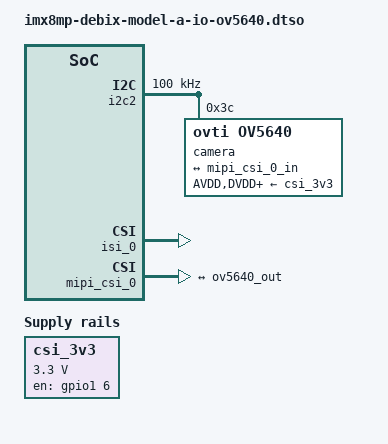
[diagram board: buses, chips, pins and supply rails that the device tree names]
// SPDX-License-Identifier: (GPL-2.0+ OR MIT)
/*
 * Copyright 2022 Ideas on Board Oy
 */

/dts-v1/;
/plugin/;

#include <dt-bindings/clock/imx8mp-clock.h>
#include <dt-bindings/gpio/gpio.h>
#include "imx8mp-pinfunc.h"

&{/} {
	ov5640_clk: ov5640-clk {
		compatible = "fixed-clock";
		#clock-cells = <0>;
		clock-frequency = <24000000>;
	};

	csi_3v3: regulator-csi-3v3 {
		compatible = "regulator-fixed";

		pinctrl-names = "default";
		pinctrl-0 = <&pinctrl_csi0_enable>;

		regulator-name = "CSI_3V3";
		regulator-max-microvolt = <3300000>;
		regulator-min-microvolt = <3300000>;
		/* TODO: Check if the delay could be shortened. */
		startup-delay-us = <50000>;

		gpio = <&gpio1 6 GPIO_ACTIVE_HIGH>;
		enable-active-high;
	};
};

&i2c2 {
	clock-frequency = <100000>;
	pinctrl-names = "default";
	pinctrl-0 = <&pinctrl_i2c2>;
	status = "okay";

	camera@3c {
		compatible = "ovti,ov5640";
		reg = <0x3c>;

		clocks = <&ov5640_clk>;
		clock-names = "xclk";

		AVDD-supply = <&csi_3v3>;
		DVDD-supply = <&csi_3v3>;
		DOVDD-supply = <&csi_3v3>;

		rotation = <0>;
		orientation = <2>; /* External camera */

		port {
			ov5640_out: endpoint {
				remote-endpoint = <&mipi_csi_0_in>;
				clock-lanes = <0>;
				data-lanes = <1 2>;
			};
		};
	};
};

&iomuxc {
	pinctrl_csi0_enable: csi0_enable_grp {
		fsl,pins = <
			MX8MP_IOMUXC_GPIO1_IO06__GPIO1_IO06	0x19
		>;
	};

	pinctrl_i2c2: i2c2grp {
		fsl,pins = <
			MX8MP_IOMUXC_I2C2_SCL__I2C2_SCL		0x400001c2
			MX8MP_IOMUXC_I2C2_SDA__I2C2_SDA		0x400001c2
		>;
	};
};

&isi_0 {
	status = "okay";
};

&mipi_csi_0 {
	status = "okay";

	ports {
		port@0 {
			mipi_csi_0_in: endpoint {
				remote-endpoint = <&ov5640_out>;
				clock-lanes = <0>;
				data-lanes = <1 2>;
			};
		};
	};
};
